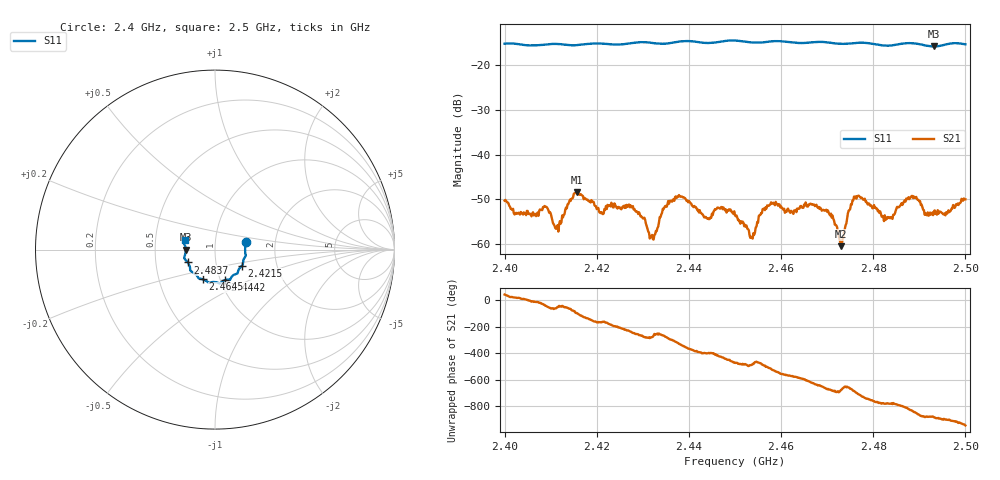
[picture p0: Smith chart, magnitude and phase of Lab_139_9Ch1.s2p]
# Hz S RI R 50
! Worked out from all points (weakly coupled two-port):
!   601 points, 2.4 GHz to 2.5 GHz, reference 50 ohm
!   highest |S21| = -48.48 dB at 2.4157 GHz (marker M1); lowest = -60.6 dB at 2.473 GHz (marker M2)
!   lowest |S11| = -15.7 dB at 2.4932 GHz (marker M3), VSWR 1.39, Z = 35.9 - j0.0498 ohm
!   |S11| at or under -10 dB: start of sweep to end of sweep
!   S12 and S22 are empty: the file has one direction only
!   S11 on the Smith chart (normalised r, x): 2.4 GHz: 1.41, +0.12; 2.4215 GHz: 1.33, -0.25; 2.4442 GHz: 1.05, -0.37; 2.4645 GHz: 0.83, -0.29; 2.4837 GHz: 0.73, -0.11; 2.5 GHz: 0.71, +0.07
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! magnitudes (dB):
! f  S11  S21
! 2.4 GHz  -15.1  -50.3
! 2.4088 GHz  -15.3  -51.7
! 2.4113 GHz  -15.2  -56.5
! 2.4157 GHz  -15.4  -48.5
! 2.4167 GHz  -15.3  -49.1
! 2.4215 GHz  -15.1  -53.2
! 2.432 GHz  -14.9  -58.0
! 2.4333 GHz  -15.1  -56.2
! 2.4375 GHz  -14.7  -49.5
! 2.4442 GHz  -15.0  -54.3
! 2.45 GHz  -14.4  -53.6
! 2.4537 GHz  -14.8  -58.7
! 2.4575 GHz  -14.6  -51.3
! 2.4645 GHz  -15.0  -51.9
! 2.4667 GHz  -14.8  -51.2
! 2.473 GHz  -15.1  -60.6
! 2.4763 GHz  -14.9  -49.9
! 2.4833 GHz  -15.6  -54.2
! 2.4837 GHz  -15.5  -54.3
! 2.4885 GHz  -15.0  -49.3
! 2.4932 GHz  -15.7  -52.8
! 2.5 GHz  -15.3  -50.0
